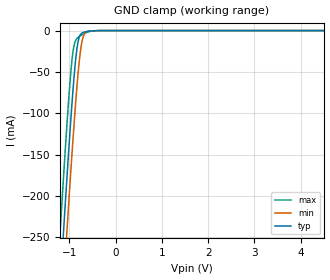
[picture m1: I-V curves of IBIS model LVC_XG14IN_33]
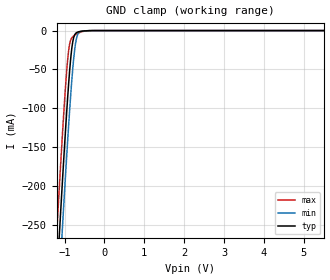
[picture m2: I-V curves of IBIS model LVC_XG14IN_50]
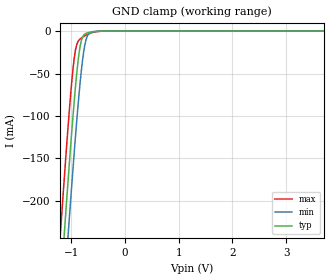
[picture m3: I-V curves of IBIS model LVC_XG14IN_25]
| Nexperia Semiconductors
| Logic Products Group
| IBIS model of 74LVC1G14
| SINGLE SCHMITT-TRIGGER INVERTER
|[Packages]:
|[Package1]: SC88A (GW) 5-pin Package
|[Package2]: SC74A (GV) 5-pin Package
|[Package3]: X2SON5(GX) 5-pins package
|[Package4]: XSON6 (GM) 6-pins package
|[Package5]: XSON6 (GF) 6-pins package
|[Package6]: XSON6 (GN) 6-pins Package
|[Package7]: XSON6 (GS) 6-pins package
|[Package8]: X2SON4(GX4) 4-pins Package
[IBIS Ver]   3.2
[File Name]   lvc1g14.ibs
[File Rev]   1.5
[Date]   08-Sep-2017
[Source]   File created from simulations by LPG
   Nexperia Semiconductors Nijmegen
[Notes]   V1.5   Ibis model.
| Revision History
| Version Date   Author/ Description
|   Editor
| 1.0   January  2002  RM   Initial Version
| 1.1   July   2003  RM   Updated Version
| 1.2   December 2004  RRV   Added XSON package
| 1.3   December 2011  GY   Updated models,added GN,GS package
| 1.4   December 2014  TT   GX package added
| 1.5   September 2017 TJ   GX4 package added
| Remarks:
| 1. The Power Clamp curves have been omitted since there is no power clamp
|   diode.
| 2. Non-monotonic sections below 0V in pulldown and pullup curves have been
|   removed (if any).
[Disclaimer]
    Nexperia Semiconductors warrants and represents that the IBIS model
    identified herein is owned by Nexperia Semiconductors (Nexperia). The
    model provided is not warranted as fully representing all of the
    operating characteristics and specifications of the semiconductor
    products to which the model relates.  Moreover, unless there is a
    signed, written agreement to the contrary, this IBIS model is
    furnished on an "as is" basis without support or warranty of any
    kind, either expressed or implied, regarding the use thereof, and
    Nexperia specifically disclaims all implied warranties of
    merchantability and fitness of the model for any purpose.
    Nexperia does not assume any liability arising out of the application
    or use of this IBIS model including infringement of patents and
    copyrights, nor does Nexperia convey any license under its patents and
    copyrights or the rights of others.
    Nexperia provides IBIS models as a service to our customers. You and
    your company shall not distribute, convey, sell, or give these models
    to anyone else without receiving prior written permission from
    Nexperia.
    Nexperia reserves the right to make changes without notice to these
    IBIS models to improve reliability, function, or design.
    Please be aware that your receipt and subsequent use of the IBIS
    information provided shall serve as acceptance of the terms and
    conditions of this agreement.  If you do not accept these terms,
    you should return or destroy the IBIS models and any other
    accompanying information immediately.
[Copyright]
   (C) Copyright 2017 Nexperia Semiconductors
   All rights reserved
|   Info for  SC88A (GW) 5-pin Package
[Component]   74LVC1G14_GW
[Manufacturer]   Nexperia Semiconductors
[package]
|   typ   min   max
R_pkg 3.8923E-02 2.5367E-02 5.7305E-02
L_pkg 8.4930E-10 6.4086E-10 1.1269E-09
C_pkg 1.7760E-13 1.1980E-13 3.2826E-13
[Pin] signal_name   model_name   R_pin   L_pin   C_pin
   1   NC   NC 2.9284E-02 7.0593E-10 3.2826E-13
   2   A   LVC1G14_IN 2.5367E-02 6.4086E-10 1.4427E-13
   3   GND   GND 4.9327E-02 1.0053E-09 1.4871E-13
   4   Y#   LVC1G14_OUTI 5.7305E-02 1.1269E-09 1.4699E-13
   5   VCC   POWER 3.3333E-02 7.6759E-10 1.1980E-13
|   Info for  SC74A (GV) 5-pin Package
[Component]   74LVC1G14_GV
[Manufacturer]   Nexperia Semiconductors
[package]
|   typ   min   max
R_pkg   7.0863E-02   5.8319E-02   8.4334E-02
L_pkg   8.780E-10   7.160E-10   1.003E-09
C_pkg   8.44E-14   5.30E-14   1.63E-13
[Pin] signal_name   model_name   R_pin   L_pin   C_pin
   1   NC   NC 8.43E-02  9.97E-10  7.40E-14
   2   A   LVC1G14_IN 5.83E-02  7.16E-10  5.30E-14
   3   GND   GND 7.08E-02 1.003E-09  1.63E-13
   4   Y#   LVC1G14_OUTI 7.04E-02   8.2E-10  6.30E-14
   5   VCC   POWER 7.04E-02  8.54E-10  6.90E-14
|   Info for  X2SON5 (GX) 5-pins package
[Component]   74LVC1G14_GX
[Manufacturer]   Nexperia Semiconductors
[Package]
|   Typ   Min   Max
R_pkg   1.325E-01   8.284E-02   1.477E-01
L_pkg   1.327E-09   1.267E-09   1.371E-09
C_pkg   2.121E-13   1.698E-13   3.286E-13
[Pin] signal_name   model_name   R_pin   L_pin   C_pin
   1   NC   NC 1.345E-01 1.267E-09 1.698E-13
   2   A   LVC1G14_IN 1.477E-01 1.371E-09 1.827E-13
   3   GND   GND 1.426E-01 1.300E-09 3.286E-13
   4   Y#   LVC1G14_OUTI 1.461E-01 1.350E-09 1.766E-13
   5   VCC   POWER 1.411E-01 1.313E-09 1.721E-13
|   Info for  XSON6 (GM) 6-pins package
[Component]   74LVC1G14_GM
[Manufacturer]   Nexperia Semiconductors
[Package]
|   Typ   Min   Max
R_pkg   3.997E-02   3.996E-02   3.998E-02
L_pkg   6.173E-10   6.152E-10   6.184E-10
C_pkg   1.884E-13   1.795E-13   2.057E-13
[Pin] signal_name   model_name   R_pin   L_pin   C_pin
   1   NC   NC 3.997E-02 6.184E-10 1.801E-13
   2   A   LVC1G14_IN 3.996E-02 6.152E-10 2.057E-13
   3   GND   GND 3.997E-02 6.182E-10 1.795E-13
   4   Y#   LVC1G14_OUTI 3.998E-02 6.184E-10 1.795E-13
   5   NC   NC 3.997E-02 6.154E-10 2.057E-13
   6   VCC   POWER 3.997E-02 6.179E-10 1.798E-13
|   Info for  XSON6 (GF) 6-pins package
[Component]   74LVC1G14_GF
[Manufacturer]   Nexperia Semiconductors
[Package]
|   Typ   Min   Max
R_pkg   3.978E-02   3.977E-02   3.979E-02
L_pkg   6.070E-10   6.066E-10   6.077E-10
C_pkg   1.209E-13   1.153E-13   1.316E-13
[Pin] signal_name   model_name   R_pin   L_pin   C_pin
   1   NC   NC 3.979E-02 6.077E-10 1.160E-13
   2   A   LVC1G14_IN 3.979E-02 6.071E-10 1.316E-13
   3   GND   GND 3.978E-02 6.072E-10 1.153E-13
   4   Y#   LVC1G14_OUTI 3.977E-02 6.067E-10 1.153E-13
   5   NC   NC 3.978E-02 6.066E-10 1.315E-13
   6   VCC   POWER 3.978E-02 6.069E-10 1.155E-13
|   Info for  XSON6 (GN) 6-pins Package
[Component]   74LVC1G14_GN
[Manufacturer]   Nexperia Semiconductors
[Package]
|   Typ   Min   Max
R_pkg   3.802E-02   3.801E-02   3.803E-02
L_pkg   4.923E-10   4.902E-10   4.934E-10
C_pkg   1.861E-13   1.772E-13   2.035E-13
[Pin] signal_name   model_name   R_pin   L_pin   C_pin
   1   NC   NC 3.802E-02 4.934E-10 1.778E-13
   2   A   LVC1G14_IN 3.801E-02 4.902E-10 2.035E-13
   3   GND   GND 3.802E-02 4.932E-10 1.772E-13
   4   Y#   LVC1G14_OUTI 3.803E-02 4.934E-10 1.772E-13
   5   NC   NC 3.802E-02 4.904E-10 2.034E-13
   6   VCC   POWER 3.802E-02 4.929E-10 1.775E-13
|   Info for  XSON6 (GS) 6-pins package
[Component]   74LVC1G14_GS
[Manufacturer]   Nexperia Semiconductors
[Package]
|   Typ   Min   Max
R_pkg   3.5879E-02   3.5869E-02   3.5886E-02
L_pkg   4.5703E-10   4.5658E-10   4.5769E-10
C_pkg   1.1638E-13   1.1080E-13   1.2708E-13
[Pin] signal_name   model_name   R_pin   L_pin   C_pin
   1   NC   NC 3.5886E-02 4.5769E-10 1.1155E-13
   2   A   LVC1G14_IN 3.5886E-02 4.5710E-10 1.2708E-13
   3   GND   GND 3.5877E-02 4.5721E-10 1.1080E-13
   4   Y#   LVC1G14_OUTI 3.5869E-02 4.5673E-10 1.1080E-13
   5   NC   NC 3.5878E-02 4.5658E-10 1.2704E-13
   6   VCC   POWER 3.5879E-02 4.5686E-10 1.1098E-13
|   Info for  X2SON4 (GX4) 4-pins Package
[Component]   74LVC1G14_GX4
[Manufacturer]   Nexperia Semiconductors
[Package]
|   Typ   Min   Max
R_pkg   1.854E-02   1.854E-02   1.854E-02
L_pkg   2.201E-10   2.201E-10   2.201E-10
C_pkg   7.149E-14   7.142E-14   7.156E-14
[Pin] signal_name   model_name   R_pin   L_pin   C_pin
   1   A   LVC1G14_IN 1.854E-02 2.201E-10 7.153E-14
   2   GND   GND 1.854E-02 2.201E-10 7.156E-14
   3   Y#   LVC1G14_OUTI 1.854E-02 2.201E-10 7.147E-14
   4   VCC   POWER 1.854E-02 2.201E-10 7.142E-14
[Model Selector]   LVC1G14_IN
LVC_XG14IN_33   3.3V-Vcc Schmitt-trigger input model
LVC_XG14IN_50   5.0V-Vcc Schmitt-trigger input model
LVC_XG14IN_25   2.5V-Vcc Schmitt-trigger input model
LVC_XG14IN_18   1.8V-Vcc Schmitt-trigger input model
[Model Selector]   LVC1G14_OUTI
LVC_XGOUTI_33   3.3V-Vcc output model (inverting)
LVC_XGOUTI_50   5.0V-Vcc output model (inverting)
LVC_XGOUTI_25   2.5V-Vcc output model (inverting)
LVC_XGOUTI_18   1.8V-Vcc output model (inverting)
| Models and submodels in the file (8): LVC_XG14IN_33 (Input), LVC_XG14IN_50 (Input), LVC_XG14IN_25 (Input), LVC_XG14IN_18 (Input), LVC_XGOUTI_33 (Output), LVC_XGOUTI_50 (Output), LVC_XGOUTI_25 (Output), LVC_XGOUTI_18 (Output)
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| Remark: If your software does not support the Model Selector
|   Please comment out the lines of the Model Selector, which
|   contain the name of the Model, except the one you want to use.
|   Model LVC_XG14IN_33
[Model]   LVC_XG14IN_33
Model_type   Input
Vinl =   0.8V
Vinh =   2.0V
C_comp   3.5860pF   2.7373pF   4.5174pF
|Ambient temperature:   25   85   -40
[Temperature Range]   50   105   -10
[Voltage Range]   3.3V   3.0V   3.6V
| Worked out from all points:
|   GND clamp passes 1 mA (typ) near -0.61 V on its own axis
|Process Range   nominal   slow   fast
[GND_clamp]
| voltage   I(typ)   I(min)   I(max)
-5.5V     -4.538A    -4.596A    -4.481A
-1.208V   -316.9mA   -382.8mA   -250.3mA
-1.142V   -256.6mA   -322.3mA   -190.4mA
-1.12V    -236.8mA   -302.4mA   -170.9mA
-1.054V   -178.5mA   -243.3mA   -114.3mA
-988mV    -122.7mA   -185.9mA   -63.06mA
-922mV    -71.73mA   -131.2mA   -25.25mA
-812mV    -13.3mA    -51.49mA   -8.276mA
-746mV    -3.802mA   -18.87mA   -5.651mA
-702mV    -2.246mA   -7.433mA   -4.219mA
-400mV    -94.75uA   -95.65uA   -83.86uA
5.5V      0A         0A         0A
|   Model LVC_XG14IN_50
[Model]   LVC_XG14IN_50
Model_type   Input
Vinl =   1.5V
Vinh =   3.5V
C_comp   3.5338pF   2.6307pF   4.5488pF
|Ambient temperature:   25   85   -40
[Temperature Range]   50   105   -10
[Voltage Range]   5.0V   4.5V   5.5V
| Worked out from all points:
|   GND clamp passes 1 mA (typ) near -0.59 V on its own axis
|Process Range   nominal   slow   fast
[GND_clamp]
| voltage   I(typ)   I(min)   I(max)
-5.5V     -4.553A    -4.607A    -4.5A
-1.208V   -334.3mA   -394.9mA   -272.4mA
-1.186V   -314mA     -374.6mA   -252.2mA
-1.142V   -273.9mA   -334.3mA   -212.3mA
-1.12V    -254.1mA   -314.4mA   -192.7mA
-1.054V   -195.5mA   -255.2mA   -135.3mA
-966mV    -121.2mA   -178.9mA   -65.98mA
-900mV    -70.86mA   -124.8mA   -27.22mA
-790mV    -13.47mA   -47.2mA    -7.678mA
-680mV    -2.175mA   -6.549mA   -3.932mA
-378mV    -104.7uA   -93.25uA   -115.5uA
5.5V      0A         0A         0A
|   Model LVC_XG14IN_25
[Model]   LVC_XG14IN_25
Model_type   Input
Vinl =   0.7V
Vinh =   1.7V
C_comp   3.6325pF   2.8412pF   4.5019pF
|Ambient temperature:   25   85   -40
[Temperature Range]   30   90   -35
[Voltage Range]   2.5V   2.3V   2.7V
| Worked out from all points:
|   GND clamp passes 1 mA (typ) near -0.61 V on its own axis
|Process Range   nominal   slow   fast
[GND_clamp]
| voltage   I(typ)   I(min)   I(max)
-5.5V     -4.533A    -4.59A     -4.476A
-1.208V   -311.2mA   -376.9mA   -244.9mA
-1.186V   -290.9mA   -356.6mA   -224.8mA
-1.12V    -231.1mA   -296.4mA   -165.6mA
-1.054V   -172.9mA   -237.4mA   -109.1mA
-944mV    -82.87mA   -143.4mA   -32.14mA
-900mV    -51.94mA   -108.3mA   -16.56mA
-856mV    -27.03mA   -75.74mA   -10.72mA
-768mV    -4.801mA   -24.46mA   -6.387mA
-702mV    -2.124mA   -6.152mA   -4.132mA
-400mV    -82.3uA    -86.02uA   -67.85uA
5.5V      0A         0A         0A
